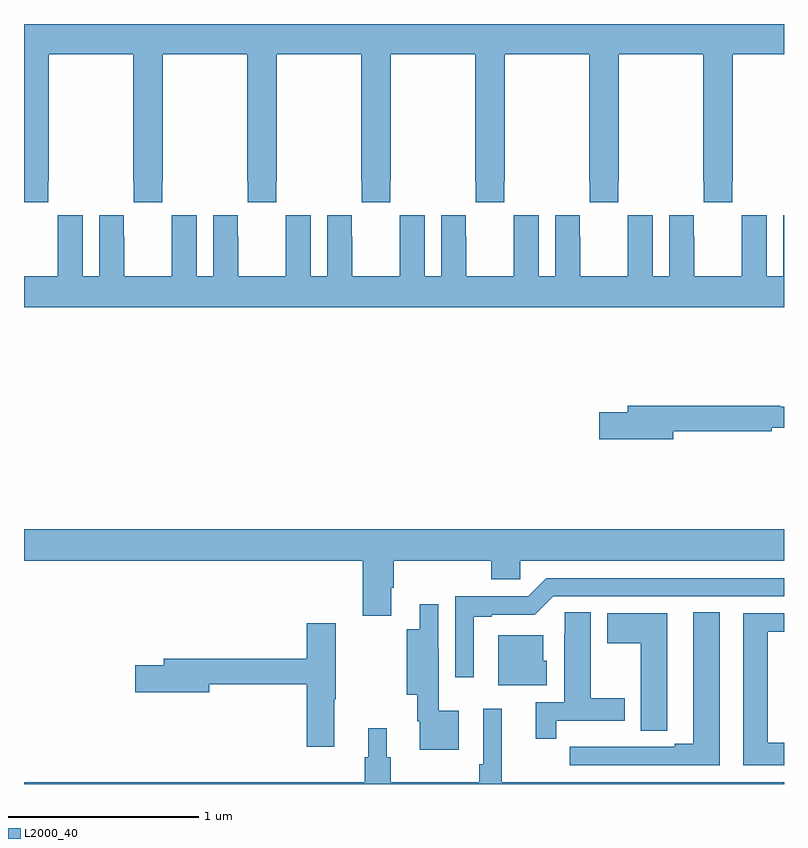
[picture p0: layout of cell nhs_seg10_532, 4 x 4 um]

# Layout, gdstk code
import gdstk
lib = gdstk.Library(unit=1e-6, precision=1e-09)
def P(c, l, *ps):  # polygons
    for p in ps: c.add(gdstk.Polygon(p, *l))
L2000_40 = (2000, 40)

nhs_seg10_532 = lib.new_cell('nhs_seg10_532')
P(nhs_seg10_532, L2000_40, [(137.127,1275.673),(137.13,1275.673),(137.13,1276.34),(137.575,1276.34),(137.575,1275.673),(137.577,1275.673),(137.577,1275.561),(137.727,1275.561),(137.727,1275.673),(137.73,1275.673),(137.73,1276.34),(138.175,1276.34),(138.175,1275.673),(138.177,1275.673),(138.177,1275.561),(138.327,1275.561),(138.327,1275.673),(138.33,1275.673),(138.33,1276.34),(138.775,1276.34),(138.775,1275.673),(138.777,1275.673),(138.777,1275.561),(138.927,1275.561),(138.927,1275.673),(138.93,1275.673),(138.93,1276.34),(139.375,1276.34),(139.375,1275.673),(139.377,1275.673),(139.377,1275.561),(139.527,1275.561),(139.527,1275.673),(139.53,1275.673),(139.53,1276.34),(139.975,1276.34),(139.975,1275.673),(139.977,1275.673),(139.977,1275.561),(140.127,1275.561),(140.127,1275.673),(140.13,1275.673),(140.13,1276.34),(140.575,1276.34),(140.575,1275.673),(140.577,1275.673),(140.577,1275.561),(140.727,1275.561),(140.727,1275.673),(140.73,1275.673),(140.73,1276.34),(141,1276.34),(141,1276.5),(137,1276.5),(137,1275.561),(137.127,1275.561)],
  [(141,1275.493),(140.996,1275.493),(140.996,1275.172),(140.908,1275.172),(140.908,1275.493),(140.778,1275.493),(140.778,1275.38),(140.777,1275.38),(140.777,1275.172),(140.527,1275.172),(140.527,1275.38),(140.526,1275.38),(140.526,1275.493),(140.396,1275.493),(140.396,1275.172),(140.308,1275.172),(140.308,1275.493),(140.178,1275.493),(140.178,1275.38),(140.177,1275.38),(140.177,1275.172),(139.927,1275.172),(139.927,1275.38),(139.926,1275.38),(139.926,1275.493),(139.796,1275.493),(139.796,1275.172),(139.708,1275.172),(139.708,1275.493),(139.578,1275.493),(139.578,1275.38),(139.577,1275.38),(139.577,1275.172),(139.327,1275.172),(139.327,1275.38),(139.326,1275.38),(139.326,1275.493),(139.196,1275.493),(139.196,1275.172),(139.108,1275.172),(139.108,1275.493),(138.978,1275.493),(138.978,1275.38),(138.977,1275.38),(138.977,1275.172),(138.727,1275.172),(138.727,1275.38),(138.726,1275.38),(138.726,1275.493),(138.596,1275.493),(138.596,1275.172),(138.508,1275.172),(138.508,1275.493),(138.378,1275.493),(138.378,1275.38),(138.377,1275.38),(138.377,1275.172),(138.127,1275.172),(138.127,1275.38),(138.126,1275.38),(138.126,1275.493),(137.996,1275.493),(137.996,1275.172),(137.908,1275.172),(137.908,1275.493),(137.778,1275.493),(137.778,1275.38),(137.777,1275.38),(137.777,1275.172),(137.527,1275.172),(137.527,1275.38),(137.526,1275.38),(137.526,1275.493),(137.396,1275.493),(137.396,1275.172),(137.308,1275.172),(137.308,1275.493),(137.178,1275.493),(137.178,1275.38),(137.177,1275.38),(137.177,1275.172),(137,1275.172),(137,1275.008),(141,1275.008)],
  [(140.416,1274.356),(140.936,1274.356),(140.936,1274.375),(141,1274.375),(141,1274.485),(140.981,1274.485),(140.981,1274.492),(140.177,1274.492),(140.177,1274.456),(140.028,1274.456),(140.028,1274.314),(140.416,1274.314)],
  [(138.934,1273.534),(138.947,1273.534),(138.947,1273.676),(139.46,1273.676),(139.46,1273.578),(139.611,1273.578),(139.611,1273.676),(141,1273.676),(141,1273.84),(137,1273.84),(137,1273.676),(138.782,1273.676),(138.782,1273.386),(138.934,1273.386)],
  [(139.366,1273.38),(139.462,1273.38),(139.462,1273.392),(139.689,1273.392),(139.785,1273.488),(141,1273.488),(141,1273.584),(139.749,1273.584),(139.653,1273.488),(139.269,1273.488),(139.269,1273.062),(139.366,1273.062)],
  [(139.288,1272.886),(139.182,1272.886),(139.182,1273.211),(139.18,1273.211),(139.18,1273.447),(139.082,1273.447),(139.082,1273.315),(139.015,1273.315),(139.015,1272.971),(139.071,1272.971),(139.071,1272.83),(139.083,1272.83),(139.083,1272.68),(139.288,1272.68)],
  [(139.802,1272.834),(140.161,1272.834),(140.161,1272.951),(139.984,1272.951),(139.984,1273.403),(139.845,1273.403),(139.845,1273.292),(139.844,1273.292),(139.844,1272.93),(139.694,1272.93),(139.694,1272.738),(139.802,1272.738)],
  [(140.662,1273.403),(140.522,1273.403),(140.522,1272.711),(140.426,1272.711),(140.426,1272.696),(140.15,1272.696),(140.15,1272.697),(139.984,1272.697),(139.984,1272.696),(139.872,1272.696),(139.872,1272.6),(140.662,1272.6)],
  [(140.385,1272.889),(140.386,1272.889),(140.386,1273.399),(140.069,1273.399),(140.069,1273.24),(140.246,1273.24),(140.246,1272.781),(140.385,1272.781)],
  [(141,1272.716),(140.914,1272.716),(140.914,1273.302),(141,1273.302),(141,1273.398),(140.786,1273.398),(140.786,1272.6),(141,1272.6)],
  [(138.634,1272.947),(138.642,1272.947),(138.642,1273.345),(138.488,1273.345),(138.488,1273.16),(137.735,1273.16),(137.735,1273.124),(137.586,1273.124),(137.586,1272.982),(137.974,1272.982),(137.974,1273.024),(138.488,1273.024),(138.488,1272.696),(138.634,1272.696)],
  [(139.75,1273.149),(139.732,1273.149),(139.732,1273.282),(139.496,1273.282),(139.496,1273.019),(139.75,1273.019)],
  [(141,1272.508),(139.514,1272.508),(139.514,1272.895),(139.416,1272.895),(139.416,1272.604),(139.396,1272.604),(139.396,1272.508),(138.929,1272.508),(138.929,1272.642),(138.91,1272.642),(138.91,1272.793),(138.812,1272.793),(138.812,1272.642),(138.793,1272.642),(138.793,1272.508),(137,1272.508),(137,1272.5),(141,1272.5)])

lib.write_gds('nhs_seg10_532.gds')
